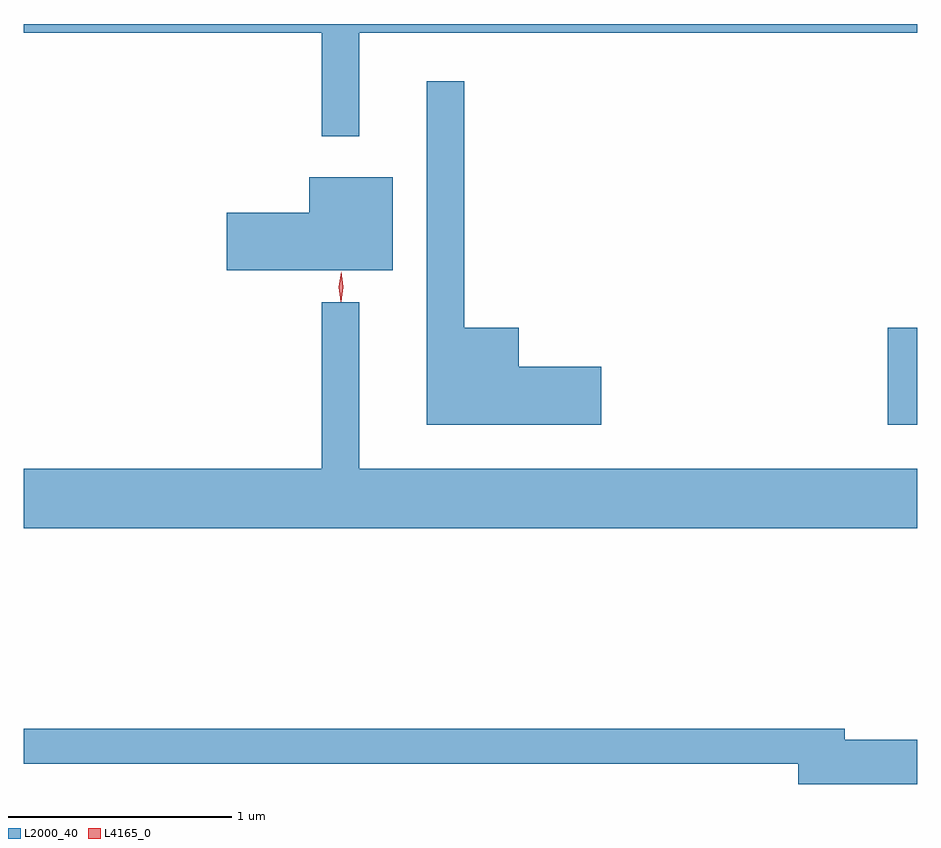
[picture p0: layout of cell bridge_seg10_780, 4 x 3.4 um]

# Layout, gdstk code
import gdstk
lib = gdstk.Library(unit=1e-6, precision=1e-09)
def R(c, l, rs):  # rectangles x0, y0, x1, y1
    for r in rs: c.add(gdstk.rectangle(r[:2], r[2:], *l))
def P(c, l, *ps):  # polygons
    for p in ps: c.add(gdstk.Polygon(p, *l))
L2000_40 = (2000, 40)
L4165_0 = (4165, 0)

bridge_seg10_780 = lib.new_cell('bridge_seg10_780')
R(bridge_seg10_780, L2000_40, [(610.086,2087.741,610.218,2088.174)])
P(bridge_seg10_780, L2000_40, [(607.719,2089.496),(610.218,2089.496),(610.218,2089.535),(606.218,2089.535),(606.218,2089.496),(607.551,2089.496),(607.551,2089.033),(607.719,2089.033)],
  [(608.804,2087.999),(608.434,2087.999),(608.434,2088.174),(608.189,2088.174),(608.189,2089.278),(608.021,2089.278),(608.021,2087.741),(608.804,2087.741)],
  [(607.869,2088.849),(607.496,2088.849),(607.496,2088.689),(607.126,2088.689),(607.126,2088.431),(607.869,2088.431)],
  [(610.218,2087.544),(607.719,2087.544),(607.719,2088.288),(607.551,2088.288),(607.551,2087.544),(606.218,2087.544),(606.218,2087.276),(610.218,2087.276)],
  [(610.218,2086.329),(609.894,2086.329),(609.894,2086.379),(606.218,2086.379),(606.218,2086.221),(609.686,2086.221),(609.686,2086.131),(610.218,2086.131)])
P(bridge_seg10_780, L4165_0, [(607.637,2088.293),(607.636,2088.294),(607.628,2088.356),(607.638,2088.419),(607.639,2088.42),(607.639,2088.419),(607.648,2088.356),(607.638,2088.294)],
  [(607.636,2088.29),(607.628,2088.358),(607.638,2088.426),(607.638,2088.426),(607.639,2088.426),(607.648,2088.358),(607.638,2088.29),(607.637,2088.29)])

lib.write_gds('bridge_seg10_780.gds')
